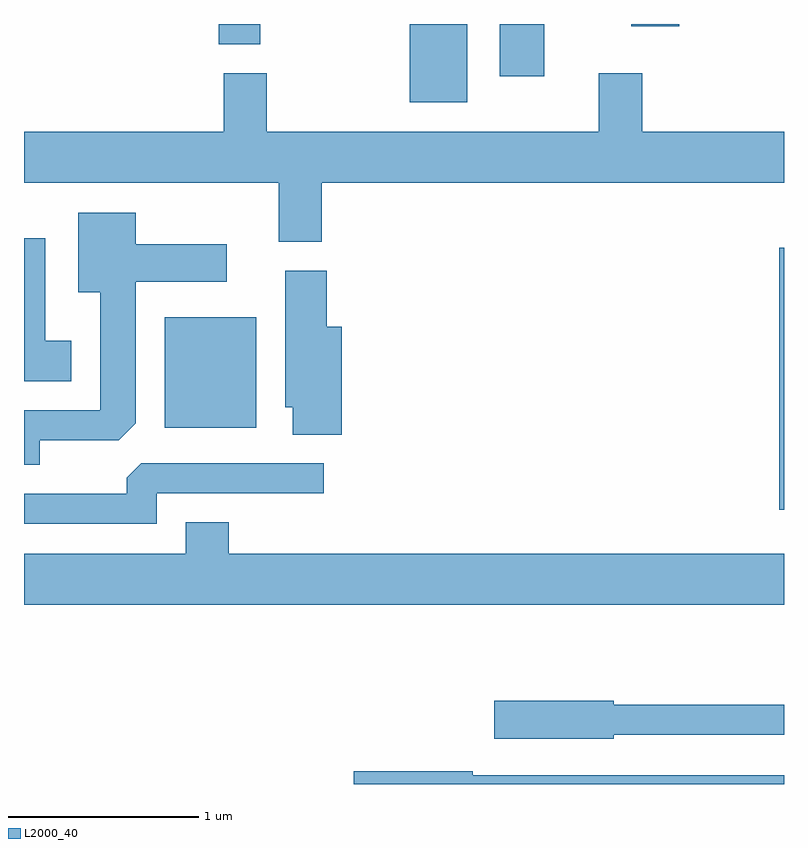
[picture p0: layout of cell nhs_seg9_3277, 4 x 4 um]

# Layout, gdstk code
import gdstk
lib = gdstk.Library(unit=1e-6, precision=1e-09)
def R(c, l, rs):  # rectangles x0, y0, x1, y1
    for r in rs: c.add(gdstk.rectangle(r[:2], r[2:], *l))
def P(c, l, *ps):  # polygons
    for p in ps: c.add(gdstk.Polygon(p, *l))
L2000_40 = (2000, 40)

nhs_seg9_3277 = lib.new_cell('nhs_seg9_3277')
R(nhs_seg9_3277, L2000_40, [(285.586,1987.876,285.611,1989.254), (282.351,1988.306,282.834,1988.889), (283.641,1990.021,283.944,1990.432), (284.116,1990.156,284.349,1990.432), (282.636,1990.326,282.854,1990.432), (284.806,1990.421,285.059,1990.432)])
P(nhs_seg9_3277, L2000_40, [(283.179,1989.596),(285.611,1989.596),(285.611,1989.864),(284.864,1989.864),(284.864,1990.174),(284.636,1990.174),(284.636,1989.864),(282.889,1989.864),(282.889,1990.174),(282.661,1990.174),(282.661,1989.864),(281.611,1989.864),(281.611,1989.596),(282.951,1989.596),(282.951,1989.286),(283.179,1989.286)],
  [(281.694,1988.241),(282.109,1988.241),(282.199,1988.332),(282.199,1989.076),(282.679,1989.076),(282.679,1989.274),(282.199,1989.274),(282.199,1989.439),(281.896,1989.439),(281.896,1989.021),(282.011,1989.021),(282.011,1988.399),(281.611,1988.399),(281.611,1988.111),(281.694,1988.111)],
  [(281.859,1988.764),(281.724,1988.764),(281.724,1989.304),(281.611,1989.304),(281.611,1988.551),(281.859,1988.551)],
  [(283.284,1988.839),(283.204,1988.839),(283.204,1989.134),(282.986,1989.134),(282.986,1988.416),(283.026,1988.416),(283.026,1988.271),(283.284,1988.271)],
  [(282.309,1987.961),(283.188,1987.961),(283.188,1988.119),(282.227,1988.119),(282.151,1988.044),(282.151,1987.959),(281.611,1987.959),(281.611,1987.801),(282.309,1987.801)],
  [(285.611,1987.644),(282.689,1987.644),(282.689,1987.809),(282.461,1987.809),(282.461,1987.644),(281.611,1987.644),(281.611,1987.376),(285.611,1987.376)],
  [(284.714,1986.691),(285.611,1986.691),(285.611,1986.849),(284.714,1986.849),(284.714,1986.869),(284.086,1986.869),(284.086,1986.671),(284.714,1986.671)],
  [(285.611,1986.479),(283.974,1986.479),(283.974,1986.499),(283.346,1986.499),(283.346,1986.432),(285.611,1986.432)])

lib.write_gds('nhs_seg9_3277.gds')
